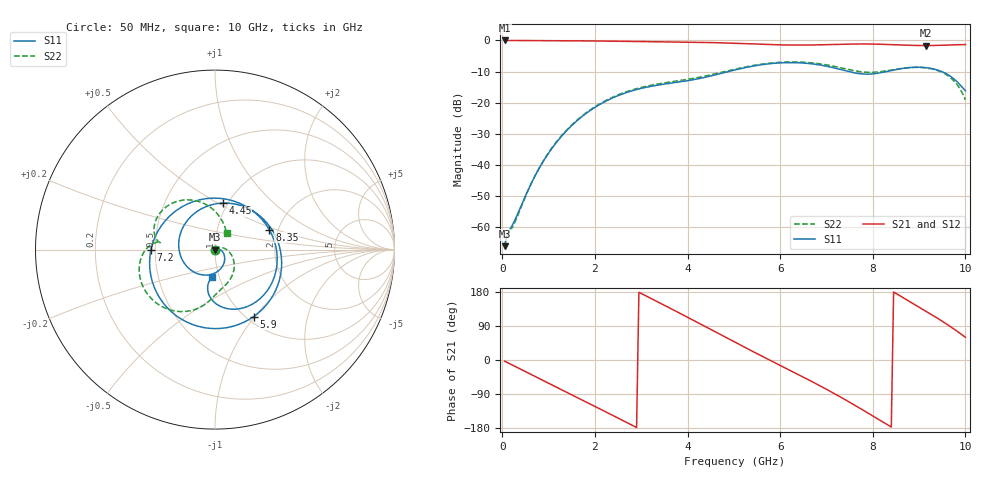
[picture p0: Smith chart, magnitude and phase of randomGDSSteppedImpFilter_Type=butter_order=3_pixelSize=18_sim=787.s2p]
! freq	dB(S11)	phase(S11)	dB(S12)	phase(S12)
!  dB(S21)	phase(S21)	dB(S22)	phase(S22)
!S-par simulation data
#  GHz  S  DB  R 50
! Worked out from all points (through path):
!   200 points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, 50 MHz to 10 GHz, reference 50 ohm
!   highest |S21| = -0.01 dB at 50 MHz (marker M1); lowest = -1.6 dB at 9.15 GHz (marker M2)
!   group delay of S21, straight-line fit = 180 ps
!   lowest |S11| = -66.1 dB at 50 MHz (marker M3), VSWR 1.00, Z = 50 + j0.0183 ohm
!   |S11| at or under -10 dB: start of sweep to 4.885 GHz; 7.479 GHz to 8.297 GHz (817.9 MHz wide, 10.4 % of centre); 9.488 GHz to end of sweep
!   |S22| runs from -65.9 to -6.9 dB; largest |S21 - S12| = 0
!   S11 on the Smith chart (normalised r, x): 50 MHz: 1.00, +0.00; 4.45 GHz: 0.95, +0.53; 5.9 GHz: 1.08, -0.99; 7.2 GHz: 0.47, -0.00; 8.35 GHz: 1.80, +0.45; 10 GHz: 0.92, -0.29
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0.05  -66.13 21.8  -0.01 -3.1  -0.01 -3.1  -65.93 17.0
0.1  -62.63 23.5  -0.01 -6.2  -0.01 -6.2  -62.96 26.6
0.85  -39.72 29.3  -0.07 -51.8  -0.07 -51.8  -39.60 49.4
1.3  -30.44 -1.0  -0.10 -79.4  -0.10 -79.4  -30.26 24.9
1.75  -24.13 -33.0  -0.14 -107.0  -0.14 -107.0  -23.93 0.5
2.6  -17.18 -97.4  -0.28 -159.5  -0.28 -159.5  -16.92 -41.2
3  -15.41 -130.7  -0.36 175.6  -0.36 175.6  -15.11 -57.7
3.4  -14.27 -167.2  -0.44 150.7  -0.44 150.7  -13.90 -71.4
3.95  -13.07 136.3  -0.54 116.0  -0.54 116.0  -12.64 -84.9
4.45  -11.61 80.8  -0.67 84.0  -0.67 84.0  -11.24 -94.0
5.05  -9.40 17.4  -0.93 45.4  -0.93 45.4  -9.15 -107.8
5.45  -8.16 -20.5  -1.16 20.0  -1.16 20.0  -7.97 -120.4
5.9  -7.31 -60.0  -1.39 -8.1  -1.39 -8.1  -7.13 -136.6
6.3  -7.14 -94.0  -1.49 -32.8  -1.49 -32.8  -6.91 -151.6
6.7  -7.55 -129.2  -1.46 -57.8  -1.46 -57.8  -7.24 -166.2
7.2  -8.95 -179.9  -1.28 -90.6  -1.28 -90.6  -8.44 178.7
7.8  -10.81 99.1  -1.14 -133.0  -1.14 -133.0  -10.16 172.5
8.35  -9.83 20.2  -1.32 -173.3  -1.32 -173.3  -9.63 170.2
8.7  -8.88 -19.2  -1.52 161.3  -1.52 161.3  -8.87 160.4
9.15  -8.75 -59.8  -1.64 128.8  -1.64 128.8  -8.84 138.8
9.65  -11.26 -94.7  -1.47 90.3  -1.47 90.3  -11.64 102.8
10  -16.18 -96.4  -1.34 60.1  -1.34 60.1  -19.08 54.4
